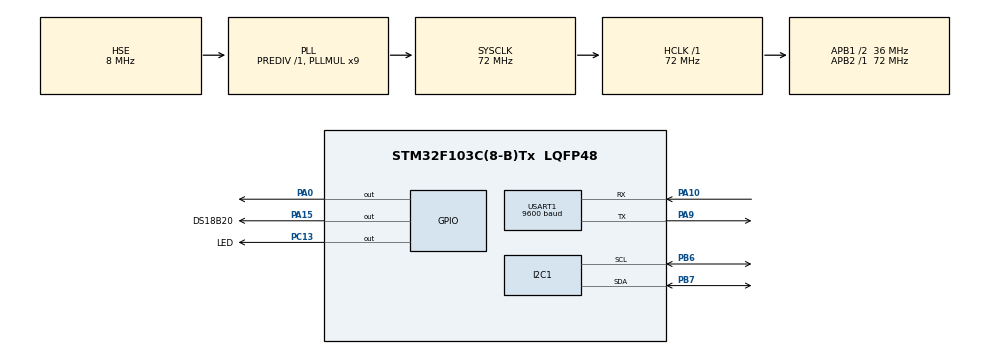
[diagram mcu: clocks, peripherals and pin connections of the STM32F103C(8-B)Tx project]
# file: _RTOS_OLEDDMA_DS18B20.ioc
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Dma.I2C1_TX.0.Direction=DMA_MEMORY_TO_PERIPH
Dma.I2C1_TX.0.Instance=DMA1_Channel6
Dma.I2C1_TX.0.MemDataAlignment=DMA_MDATAALIGN_BYTE
Dma.I2C1_TX.0.MemInc=DMA_MINC_ENABLE
Dma.I2C1_TX.0.Mode=DMA_NORMAL
Dma.I2C1_TX.0.PeriphDataAlignment=DMA_PDATAALIGN_BYTE
Dma.I2C1_TX.0.PeriphInc=DMA_PINC_DISABLE
Dma.I2C1_TX.0.Priority=DMA_PRIORITY_LOW
Dma.Request0=I2C1_TX
FREERTOS.Queues01=Queue01,16,uint16_t,0,Dynamic,NULL,NULL
FREERTOS.Tasks01=defaultTask,0,128,StartDefaultTask,Default,NULL,Dynamic,NULL,NULL
FREERTOS.configUSE_NEWLIB_REENTRANT=1
I2C1.I2C_Mode=I2C_Fast
Mcu.Family=STM32F1
Mcu.Name=STM32F103C(8-B)Tx
Mcu.Package=LQFP48
NVIC.DMA1_Channel6_IRQn=true\:5\:0\:false\:false\:true\:true\:false\:true\:true
NVIC.I2C1_EV_IRQn=true\:5\:0\:false\:false\:true\:true\:true\:true\:true
NVIC.PriorityGroup=NVIC_PRIORITYGROUP_4
NVIC.TIM4_IRQn=true\:15\:0\:false\:false\:true\:false\:false\:true\:true
NVIC.TimeBase=TIM4_IRQn
NVIC.TimeBaseIP=TIM4
NVIC.USART1_IRQn=true\:5\:0\:false\:false\:true\:true\:true\:true\:true
PA0-WKUP.Signal=GPIO_Output
PA10.Mode=Asynchronous
PA10.Signal=USART1_RX
PA13.Mode=Serial_Wire
PA13.Signal=SYS_JTMS-SWDIO
PA14.Mode=Serial_Wire
PA14.Signal=SYS_JTCK-SWCLK
PA15.GPIO_Label=DS18B20
PA15.Signal=GPIO_Output
PA9.Mode=Asynchronous
PA9.Signal=USART1_TX
PB6.Mode=I2C
PB6.Signal=I2C1_SCL
PB7.Mode=I2C
PB7.Signal=I2C1_SDA
PC13-TAMPER-RTC.GPIO_Label=LED
PC13-TAMPER-RTC.Signal=GPIO_Output
PD0-OSC_IN.Mode=HSE-External-Oscillator
PD0-OSC_IN.Signal=RCC_OSC_IN
PD1-OSC_OUT.Mode=HSE-External-Oscillator
PD1-OSC_OUT.Signal=RCC_OSC_OUT
ProjectManager.HeapSize=0x200
ProjectManager.StackSize=0x400
ProjectManager.TargetToolchain=STM32CubeIDE
RCC.AHBFreq_Value=72000000
RCC.APB1CLKDivider=RCC_HCLK_DIV2
RCC.APB1Freq_Value=36000000
RCC.APB1TimFreq_Value=72000000
RCC.APB2Freq_Value=72000000
RCC.APB2TimFreq_Value=72000000
RCC.HCLKFreq_Value=72000000
RCC.PLLMUL=RCC_PLL_MUL9
RCC.PLLSourceVirtual=RCC_PLLSOURCE_HSE
RCC.SYSCLKFreq_VALUE=72000000
RCC.SYSCLKSource=RCC_SYSCLKSOURCE_PLLCLK
RCC.USBFreq_Value=72000000
TIM3.Period=65535-1
TIM3.Prescaler=72-1
USART1.BaudRate=9600
USART1.VirtualMode=VM_ASYNC
VP_FREERTOS_VS_CMSIS_V1.Mode=CMSIS_V1
VP_SYS_VS_tim4.Mode=TIM4
VP_TIM3_VS_ClockSourceINT.Mode=Internal
board=custom

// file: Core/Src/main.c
/* USER CODE BEGIN Header */
/**
 ******************************************************************************
 * @file           : main.c
 * @brief          : Main program body
 ******************************************************************************
 * @attention
 *
 * Copyright (c) 2023 STMicroelectronics.
 * All rights reserved.
 *
 * This software is licensed under terms that can be found in the LICENSE file
 * in the root directory of this software component.
 * If no LICENSE file comes with this software, it is provided AS-IS.
 *
 ******************************************************************************
 */
/* USER CODE END Header */
#include "main.h"
#include "cmsis_os.h"

/* USER CODE BEGIN Includes */
#include "ssd1306.h"
#include "DS18B20.h"
#include "stdio.h"
#include "string.h"
/* USER CODE END Includes */

I2C_HandleTypeDef hi2c1;
DMA_HandleTypeDef hdma_i2c1_tx;

TIM_HandleTypeDef htim3;

UART_HandleTypeDef huart1;

osThreadId defaultTaskHandle;
osMessageQId Queue01Handle;
/* USER CODE BEGIN PV */
QueueHandle_t Queue02Handle;
TaskHandle_t Task02Handle;

DS18B20_Name ds;
/* USER CODE END PV */

void SystemClock_Config(void);
static void MX_GPIO_Init(void);
static void MX_DMA_Init(void);
static void MX_I2C1_Init(void);
static void MX_TIM3_Init(void);
static void MX_USART1_UART_Init(void);
void StartDefaultTask(void const *argument);

/* USER CODE BEGIN PFP */
void Task02(void *parameter);
/* USER CODE END PFP */

/* USER CODE BEGIN 0 */

#if defined(__GNUC__)
int _write(int fd, char *ptr, int len) {
	HAL_UART_Transmit(&huart1, (uint8_t*) ptr, len, HAL_MAX_DELAY);
	return len;
}
#elif defined(__ICCARM__)#include "LowLevelIOInterface.h"

size_t __write(int handle,
  const unsigned char * buffer, size_t size) {
  HAL_UART_Transmit( & huart1, (uint8_t * ) buffer, size, HAL_MAX_DELAY);
  return size;
}
#elif defined(__CC_ARM)
int fputc(int ch, FILE * f) {
  HAL_UART_Transmit( & huart1, (uint8_t * ) & ch, 1, HAL_MAX_DELAY);
  return ch;
}
#endif

void delay_us(uint32_t us) {
//	TIM3->CNT = 0;
//	while (TIM3->CNT < us)
//		;
	__HAL_TIM_SET_COUNTER(&htim3, 0);
	while (__HAL_TIM_GET_COUNTER(&htim3) < us) {
	}
}
/* USER CODE END 0 */

int main(void) {

	/* MCU Configuration--------------------------------------------------------*/

	/* Reset of all peripherals, Initializes the Flash interface and the Systick. */
	HAL_Init();

	/* Configure the system clock */
	SystemClock_Config();

	/* Initialize all configured peripherals */
	MX_GPIO_Init();
	MX_DMA_Init();
	MX_I2C1_Init();
	MX_TIM3_Init();
	MX_USART1_UART_Init();
	/* USER CODE BEGIN 2 */
	DS18B20_Init(&ds, &htim3, DS18B20_GPIO_Port, DS18B20_Pin);
	printf("xin chao");
	/* USER CODE END 2 */

	/* Create the queue(s) */
	/* definition and creation of Queue01 */
	osMessageQDef(Queue01, 16, uint32_t);
	Queue01Handle = osMessageCreate(osMessageQ(Queue01), NULL);

	/* USER CODE BEGIN RTOS_QUEUES */
	Queue02Handle = xQueueCreate(20, 20);

	/* add queues, ... */
	/* USER CODE END RTOS_QUEUES */

	/* Create the thread(s) */
	/* definition and creation of defaultTask */
	osThreadDef(defaultTask, StartDefaultTask, osPriorityNormal, 0, 128);
	defaultTaskHandle = osThreadCreate(osThread(defaultTask), NULL);

	/* USER CODE BEGIN RTOS_THREADS */
	xTaskCreate(Task02, "Task02", 256, NULL, osPriorityAboveNormal + 3,
			&Task02Handle);
	/* add threads, ... */
	/* USER CODE END RTOS_THREADS */

	/* Start scheduler */
	osKernelStart();

	/* We should never get here as control is now taken by the scheduler */
	/* Infinite loop */
	while (1) {

	}
}

void SystemClock_Config(void) {
	RCC_OscInitTypeDef RCC_OscInitStruct = { 0 };
	RCC_ClkInitTypeDef RCC_ClkInitStruct = { 0 };

	/** Initializes the RCC Oscillators according to the specified parameters
	 * in the RCC_OscInitTypeDef structure.
	 */
	RCC_OscInitStruct.OscillatorType = RCC_OSCILLATORTYPE_HSE;
	RCC_OscInitStruct.HSEState = RCC_HSE_ON;
	RCC_OscInitStruct.HSEPredivValue = RCC_HSE_PREDIV_DIV1;
	RCC_OscInitStruct.HSIState = RCC_HSI_ON;
	RCC_OscInitStruct.PLL.PLLState = RCC_PLL_ON;
	RCC_OscInitStruct.PLL.PLLSource = RCC_PLLSOURCE_HSE;
	RCC_OscInitStruct.PLL.PLLMUL = RCC_PLL_MUL9;
	if (HAL_RCC_OscConfig(&RCC_OscInitStruct) != HAL_OK) {
		Error_Handler();
	}

	/** Initializes the CPU, AHB and APB buses clocks
	 */
	RCC_ClkInitStruct.ClockType = RCC_CLOCKTYPE_HCLK | RCC_CLOCKTYPE_SYSCLK
			| RCC_CLOCKTYPE_PCLK1 | RCC_CLOCKTYPE_PCLK2;
	RCC_ClkInitStruct.SYSCLKSource = RCC_SYSCLKSOURCE_PLLCLK;
	RCC_ClkInitStruct.AHBCLKDivider = RCC_SYSCLK_DIV1;
	RCC_ClkInitStruct.APB1CLKDivider = RCC_HCLK_DIV2;
	RCC_ClkInitStruct.APB2CLKDivider = RCC_HCLK_DIV1;

	if (HAL_RCC_ClockConfig(&RCC_ClkInitStruct, FLASH_LATENCY_2) != HAL_OK) {
		Error_Handler();
	}
}

static void MX_I2C1_Init(void) {

	hi2c1.Instance = I2C1;
	hi2c1.Init.ClockSpeed = 400000;
	hi2c1.Init.DutyCycle = I2C_DUTYCYCLE_2;
	hi2c1.Init.OwnAddress1 = 0;
	hi2c1.Init.AddressingMode = I2C_ADDRESSINGMODE_7BIT;
	hi2c1.Init.DualAddressMode = I2C_DUALADDRESS_DISABLE;
	hi2c1.Init.OwnAddress2 = 0;
	hi2c1.Init.GeneralCallMode = I2C_GENERALCALL_DISABLE;
	hi2c1.Init.NoStretchMode = I2C_NOSTRETCH_DISABLE;
	if (HAL_I2C_Init(&hi2c1) != HAL_OK) {
		Error_Handler();
	}

}

static void MX_TIM3_Init(void) {

	TIM_ClockConfigTypeDef sClockSourceConfig = { 0 };
	TIM_MasterConfigTypeDef sMasterConfig = { 0 };

	htim3.Instance = TIM3;
	htim3.Init.Prescaler = 72 - 1;
	htim3.Init.CounterMode = TIM_COUNTERMODE_UP;
	htim3.Init.Period = 65535 - 1;
	htim3.Init.ClockDivision = TIM_CLOCKDIVISION_DIV1;
	htim3.Init.AutoReloadPreload = TIM_AUTORELOAD_PRELOAD_DISABLE;
	if (HAL_TIM_Base_Init(&htim3) != HAL_OK) {
		Error_Handler();
	}
	sClockSourceConfig.ClockSource = TIM_CLOCKSOURCE_INTERNAL;
	if (HAL_TIM_ConfigClockSource(&htim3, &sClockSourceConfig) != HAL_OK) {
		Error_Handler();
	}
	sMasterConfig.MasterOutputTrigger = TIM_TRGO_RESET;
	sMasterConfig.MasterSlaveMode = TIM_MASTERSLAVEMODE_DISABLE;
	if (HAL_TIMEx_MasterConfigSynchronization(&htim3, &sMasterConfig)
			!= HAL_OK) {
		Error_Handler();
	}

}

static void MX_USART1_UART_Init(void) {

	huart1.Instance = USART1;
	huart1.Init.BaudRate = 9600;
	huart1.Init.WordLength = UART_WORDLENGTH_8B;
	huart1.Init.StopBits = UART_STOPBITS_1;
	huart1.Init.Parity = UART_PARITY_NONE;
	huart1.Init.Mode = UART_MODE_TX_RX;
	huart1.Init.HwFlowCtl = UART_HWCONTROL_NONE;
	huart1.Init.OverSampling = UART_OVERSAMPLING_16;
	if (HAL_UART_Init(&huart1) != HAL_OK) {
		Error_Handler();
	}

}

static void MX_DMA_Init(void) {

	/* DMA controller clock enable */
	__HAL_RCC_DMA1_CLK_ENABLE();

	/* DMA interrupt init */
	/* DMA1_Channel6_IRQn interrupt configuration */
	HAL_NVIC_SetPriority(DMA1_Channel6_IRQn, 5, 0);
	HAL_NVIC_EnableIRQ(DMA1_Channel6_IRQn);

}

static void MX_GPIO_Init(void) {
	GPIO_InitTypeDef GPIO_InitStruct = { 0 };

	/* GPIO Ports Clock Enable */
	__HAL_RCC_GPIOC_CLK_ENABLE();
	__HAL_RCC_GPIOD_CLK_ENABLE();
	__HAL_RCC_GPIOA_CLK_ENABLE();
	__HAL_RCC_GPIOB_CLK_ENABLE();

	/*Configure GPIO pin Output Level */
	HAL_GPIO_WritePin(LED_GPIO_Port, LED_Pin, GPIO_PIN_RESET);

	/*Configure GPIO pin Output Level */
	HAL_GPIO_WritePin(GPIOA, GPIO_PIN_0 | DS18B20_Pin, GPIO_PIN_RESET);

	/*Configure GPIO pin : LED_Pin */
	GPIO_InitStruct.Pin = LED_Pin;
	GPIO_InitStruct.Mode = GPIO_MODE_OUTPUT_PP;
	GPIO_InitStruct.Pull = GPIO_NOPULL;
	GPIO_InitStruct.Speed = GPIO_SPEED_FREQ_LOW;
	HAL_GPIO_Init(LED_GPIO_Port, &GPIO_InitStruct);

	/*Configure GPIO pins : PA0 DS18B20_Pin */
	GPIO_InitStruct.Pin = GPIO_PIN_0 | DS18B20_Pin;
	GPIO_InitStruct.Mode = GPIO_MODE_OUTPUT_PP;
	GPIO_InitStruct.Pull = GPIO_NOPULL;
	GPIO_InitStruct.Speed = GPIO_SPEED_FREQ_LOW;
	HAL_GPIO_Init(GPIOA, &GPIO_InitStruct);

}

/* USER CODE BEGIN 4 */
void Task02(void *parameter) {
	uint8_t str2[20];
	uint8_t str3[20];
	double value;
	char *ptr;
	while (1) {
		HAL_GPIO_TogglePin(LED_GPIO_Port, LED_Pin);
		printf("Task 02 running\n");
		printf("Converting Data !\n");
		xQueueReceive(Queue02Handle, &str2, 1000);
		HAL_UART_Transmit(&huart1, str2, strlen((char*) str2), 1000);

		value = strtod((char*) str2, &ptr);
		sprintf((char*) str3, "%.2f\n", value);
		HAL_UART_Transmit(&huart1, str3, strlen((char*) str3), 1000);

		printf("Data 2 !!!!!!\n\n");
		//printf("Recieve : %s\n", str2);
		osDelay(2000);
	}
}
/* USER CODE END 4 */

void StartDefaultTask(void const *argument) {
	/* USER CODE BEGIN 5 */
	uint8_t str[20];
	float temp = 0;
	/* Infinite loop */
	for (;;) {
		printf("Task 01 running\n");
		temp = DS18B20_ReadTemp(&ds);
		sprintf((char*) str, "%.2f : Temp\n", temp);
		HAL_UART_Transmit(&huart1, str, strlen((char*) str), 1000);
		printf("Queue Send !\n");
		xQueueSend(Queue02Handle, &str, 1000);
		printf("Queue was Send !\n\n");
		osDelay(1000);
	}
	/* USER CODE END 5 */
}

void HAL_TIM_PeriodElapsedCallback(TIM_HandleTypeDef *htim) {
	if (htim->Instance == TIM4) {
		HAL_IncTick();
	}
}

void Error_Handler(void) {
	__disable_irq();
	while (1) {
	}
}
